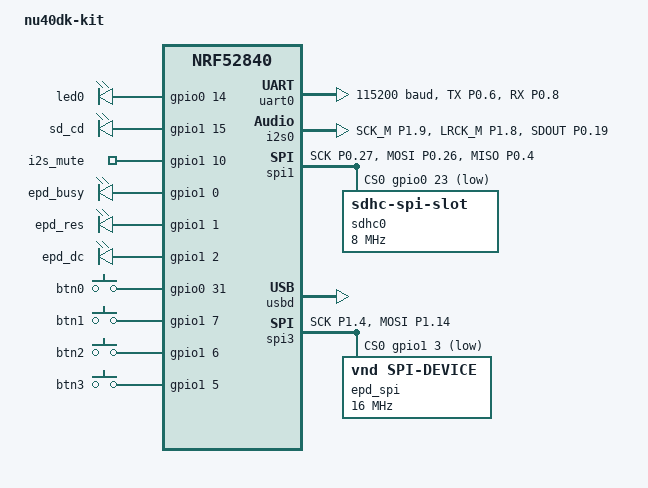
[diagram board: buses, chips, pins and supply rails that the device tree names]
/dts-v1/;
#include <nordic/nrf52840_qiaa.dtsi>
#include "nu40dk_kit-pinctrl.dtsi"

/ {
	model = "nu40dk-kit";
	compatible = "baram,nu40dk-kit";

	chosen {
		zephyr,sram = &sram0;
		zephyr,flash = &flash0;
		zephyr,code-partition = &slot0_partition;
    zephyr,console = &uart0;
    // zephyr,settings-partition = &storage_partition;
	};

  leds {
    compatible = "gpio-leds";
    led0: led0 {
      gpios = <&gpio0 14 0>;
    };
  };  

  gpio_pins {    		
		compatible = "gpio-leds";
    sd_cd: sd_cd {			
      gpios = <&gpio1 15 GPIO_ACTIVE_HIGH>;     
    };

		i2s_mute: i2s_mute {
			gpios = <&gpio1 10 GPIO_ACTIVE_HIGH>;
		}; 		

    /* 4.2" EPAPER (SSD1683) */
    epd_busy: epd_busy {
      gpios = <&gpio1 0 GPIO_ACTIVE_HIGH>;
    };
    epd_res: epd_res {
      gpios = <&gpio1 1 GPIO_ACTIVE_HIGH>;
    };
    epd_dc: epd_dc {
      gpios = <&gpio1 2 GPIO_ACTIVE_HIGH>;
    };
  };    

  buttons {
		compatible = "gpio-keys";
    debounce-interval-ms = <20>;

		btn0: btn_0 { 
			gpios = <&gpio0 31 GPIO_PULL_UP>;
      zephyr,code = <0>;
		};
		btn1: btn_1 {
			gpios = <&gpio1 7 GPIO_PULL_UP>;
      zephyr,code = <1>;
		};  
		btn2: btn_2 {
			gpios = <&gpio1 6 GPIO_PULL_UP>;
      zephyr,code = <2>;
		};
		btn3: btn_3 {
			gpios = <&gpio1 5 GPIO_PULL_UP>;
      zephyr,code = <3>;
		};    
  };    
};

&flash0 {
	partitions {
		compatible = "fixed-partitions";
		#address-cells = <1>;
		#size-cells = <1>;

		boot_partition: partition@0 {
			label = "mcuboot";
			reg = <0x00000000 DT_SIZE_K(48)>;
		};

		slot0_partition: partition@c000 {
			label = "image-0";
			reg = <0x0000c000 DT_SIZE_K(472)>;
		};

		slot1_partition: partition@82000 {
			label = "image-1";
			reg = <0x00082000 DT_SIZE_K(472)>;
		};

		storage_partition: partition@f8000 {
			label = "storage";
			reg = <0x000f8000 DT_SIZE_K(32)>;
		};
	};
};

&gpio0 {
  status = "okay";
};

&gpiote {
  status = "okay";
};

&gpio1 {
  status = "okay";
};

&uart0 {
  status = "okay";
  hw-flow-control;
  current-speed = <115200>;
  pinctrl-0 = <&uart0_default>;
  pinctrl-1 = <&uart0_sleep>;
  pinctrl-names = "default", "sleep";
};

&pinctrl {
  uart0_default: uart0_default {
    group1 {
      psels = <NRF_PSEL(UART_TX, 0, 6)>, <NRF_PSEL(UART_RX, 0, 8)>;
    };
  };

  uart0_sleep: uart0_sleep {
    group1 {
      psels = <NRF_PSEL(UART_TX, 0, 6)>;
    };
  };

  i2s0_default: i2s0_default {
    group1 {
      psels = <NRF_PSEL(I2S_SCK_M, 1, 9)>,
              <NRF_PSEL(I2S_LRCK_M, 1, 8)>,
              <NRF_PSEL(I2S_SDOUT, 0, 19)>;
    };
  };

  i2s0_sleep: i2s0_sleep {
    group1 {
      psels = <NRF_PSEL(I2S_SCK_M, 1, 9)>;
    };
  };

  spi1_default: spi1_default {
    group1 {
      psels = <NRF_PSEL(SPIM_SCK, 0, 27)>,
              <NRF_PSEL(SPIM_MOSI, 0, 26)>,
              <NRF_PSEL(SPIM_MISO, 0, 4)>;
    };
  };

  spi1_sleep: spi1_sleep {
    group1 {
      psels = <NRF_PSEL(SPIM_SCK, 0, 27)>;
    };
  };

  spi3_default: spi3_default {
    group1 {
      psels = <NRF_PSEL(SPIM_SCK, 1, 4)>,
              <NRF_PSEL(SPIM_MOSI, 1, 14)>;
    };
  };

  spi3_sleep: spi3_sleep {
    group1 {
      psels = <NRF_PSEL(SPIM_SCK, 1, 4)>,
              <NRF_PSEL(SPIM_MOSI, 1, 14)>;
      low-power-enable;
    };
  };
};


&i2s0 {
  status = "okay";
  pinctrl-0 = <&i2s0_default>;
  pinctrl-1 = <&i2s0_sleep>;
  pinctrl-names = "default", "sleep";
};

&spi1 {  
  status = "okay";
  max-frequency = <DT_FREQ_M(8)>;
  cs-gpios = <&gpio0 23 GPIO_ACTIVE_LOW>;
  pinctrl-0 = <&spi1_default>;
  pinctrl-1 = <&spi1_sleep>;
  pinctrl-names = "default", "sleep";

  sdhc0: sdhc@0 {
		compatible = "zephyr,sdhc-spi-slot";
		reg = <0>; /* cs-gpios[0] 사용 */
		spi-max-frequency = <8000000>;   
		status = "okay";

		sdmmc {
			compatible = "zephyr,sdmmc-disk";
			disk-name = "SD";
			status = "okay";
		};    		
	};  
};

zephyr_udc0: &usbd {
  status = "okay";

	usb_cdc: cdc_acm_uart0 {
		compatible = "zephyr,cdc-acm-uart";
	};  
};

/* 4.2" EPAPER (SSD1683), SPIM3 */
&spi3 {
  status = "okay";
  max-frequency = <DT_FREQ_M(32)>;
  cs-gpios = <&gpio1 3 GPIO_ACTIVE_LOW>;
  pinctrl-0 = <&spi3_default>;
  pinctrl-1 = <&spi3_sleep>;
  pinctrl-names = "default", "sleep";

  epd_spi: epd@0 {
    compatible = "vnd,spi-device";
    reg = <0>;
    spi-max-frequency = <DT_FREQ_M(16)>;   /* 32MHz 는 패널 데이터 깨짐 */
  };
};
